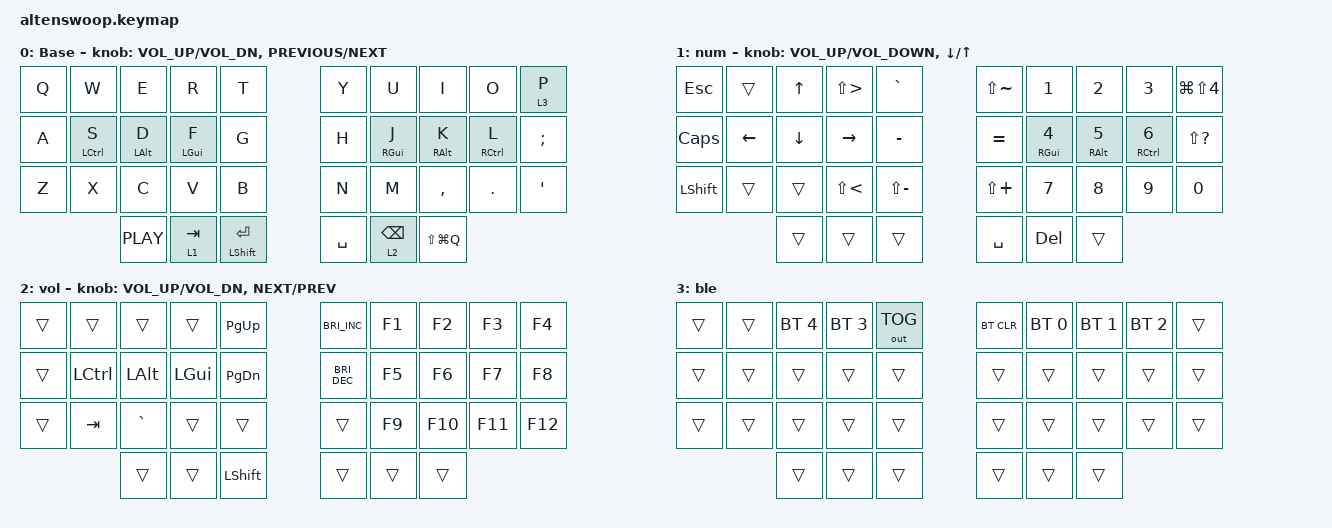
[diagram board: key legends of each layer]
/*
 * Copyright (c) 2020 duckyb
 *
 * SPDX-License-Identifier: MIT
 */

#include <dt-bindings/zmk/mouse.h>
#include <behaviors.dtsi>
#include <dt-bindings/zmk/bt.h>
#include <dt-bindings/zmk/keys.h>
#include <dt-bindings/zmk/outputs.h>

/* #include <dt-bindings/zmk/pointing.h> */

/ {
    behaviors {
        hm: require_prior_idle {
            compatible = "zmk,behavior-hold-tap";
            label = "Home row mod tap/hold";
            #binding-cells = <2>;
            flavor = "tap-preferred";
            tapping-term-ms = <200>;
            quick-tap-ms = <170>;
            require-prior-idle-ms = <170>;
            bindings = <&kp>, <&kp>;
        };

        hl: require_prior_idle2 {
            compatible = "zmk,behavior-hold-tap";
            label = "Home row layer mod tap/hold";
            #binding-cells = <2>;
            flavor = "tap-preferred";
            tapping-term-ms = <500>;
            quick-tap-ms = <170>;
            require-prior-idle-ms = <170>;
            bindings = <&mo>, <&kp>;
        };

        ht: ht {
            compatible = "zmk,behavior-hold-tap";
            label = "HT";
            bindings = <&kp>, <&kp>;

            #binding-cells = <2>;
            tapping-term-ms = <200>;
            quick-tap-ms = <200>;
            flavor = "tap-preferred";
        };

        thumb_lt: thumb_lt {
            compatible = "zmk,behavior-hold-tap";
            label = "THUMB_LT";
            bindings = <&mo>, <&kp>;

            #binding-cells = <2>;
            flavor = "tap-preferred";
            tapping-term-ms = <150>;
            quick-tap-ms = <200>;
        };

        thumb_ht: thumb_ht {
            compatible = "zmk,behavior-hold-tap";
            label = "THUMB_HT";
            bindings = <&kp>, <&kp>;

            #binding-cells = <2>;
            tapping-term-ms = <150>;
            quick-tap-ms = <200>;
        };

        hm_ringfinger: hm_ringfinger {
            compatible = "zmk,behavior-hold-tap";
            label = "HM_RINGFINGER";
            bindings = <&kp>, <&kp>;

            #binding-cells = <2>;
            tapping-term-ms = <250>;
            require-prior-idle-ms = <170>;
            quick-tap-ms = <170>;
            flavor = "tap-preferred";
        };
    };

    combos {
        compatible = "zmk,combos";

        left_bra {
            bindings = <&kp LEFT_BRACKET>;
            key-positions = <2 1>;
            layers = <0>;
        };

        right_bra {
            bindings = <&kp RIGHT_BRACKET>;
            key-positions = <7 8>;
            layers = <0>;
        };

        left_par {
            bindings = <&kp LEFT_PARENTHESIS>;
            key-positions = <12 11>;
            layers = <0>;
        };

        right_par {
            bindings = <&kp RIGHT_PARENTHESIS>;
            key-positions = <17 18>;
            layers = <0>;
        };

        left_brace {
            bindings = <&kp LEFT_BRACE>;
            key-positions = <22 21>;
            require-prior-idle-ms = <100>;
        };

        right_brace {
            bindings = <&kp RIGHT_BRACE>;
            key-positions = <27 28>;
        };

        bac {
            bindings = <&kp BACKSLASH>;
            key-positions = <4 15>;
            require-prior-idle-ms = <170>;
        };

        slash {
            bindings = <&kp SLASH>;
            key-positions = <14 5>;
            require-prior-idle-ms = <170>;
        };

        pipe {
            bindings = <&kp PIPE>;
            key-positions = <24 25>;
            require-prior-idle-ms = <170>;
        };

        caps {
            bindings = <&kp CAPSLOCK>;
            key-positions = <10 19>;
        };
    };

    macros {
        m_a_grave: m_a_grave {
            compatible = "zmk,behavior-macro";
            label = "M_A_GRAVE";
            #binding-cells = <0>;
            bindings = <&kp LA(GRAVE) &kp A>;
        };

        m_a_caret: m_a_caret {
            compatible = "zmk,behavior-macro";
            label = "M_A_CARET";
            #binding-cells = <0>;
            bindings = <&kp LA(I) &kp A>;
        };

        m_e_cute: m_e_cute {
            compatible = "zmk,behavior-macro";
            label = "M_E_CUTE";
            #binding-cells = <0>;
            bindings = <&kp LA(E) &kp E>;
        };

        m_e_grave: m_e_grave {
            compatible = "zmk,behavior-macro";
            label = "M_E_GRAVE";
            #binding-cells = <0>;
            bindings = <&kp LA(GRAVE) &kp E>;
        };

        m_e_caret: m_e_caret {
            compatible = "zmk,behavior-macro";
            label = "M_E_CARET";
            #binding-cells = <0>;
            bindings = <&kp LA(I) &kp E>;
        };

        m_ou: m_ou {
            compatible = "zmk,behavior-macro";
            label = "M_OU";
            #binding-cells = <0>;
            bindings = <&kp O &kp LA(GRAVE) &kp U>;
        };

        m_u_caret: m_u_caret {
            compatible = "zmk,behavior-macro";
            label = "M_U_CARET";
            #binding-cells = <0>;
            bindings = <&kp LA(I) &kp U>;
        };

        m_o_caret: m_o_caret {
            compatible = "zmk,behavior-macro";
            label = "M_O_CARET";
            #binding-cells = <0>;
            bindings = <&kp LA(I) &kp O>;
        };

        m_paren_quote: m_paren_quote {
            compatible = "zmk,behavior-macro";
            label = "M_PAREN_QUOTE";
            #binding-cells = <0>;
            bindings = <&kp LEFT_PARENTHESIS &kp DOUBLE_QUOTES>;
        };

        m_lt_gt_left: m_lt_gt_left {
            compatible = "zmk,behavior-macro";
            label = "M_LT_GT_LEFT";
            #binding-cells = <0>;
            bindings = <&kp LESS_THAN &kp GREATER_THAN &kp LEFT>;
        };
    };

    keymap {
        compatible = "zmk,keymap";

        base {
            label = "Base";
            bindings = <
&kp Q  &kp W                   &kp E           &kp R            &kp T                    &kp Y      &kp U             &kp I            &kp O                   &hl 3 P
&kp A  &hm_ringfinger LCTRL S  &hm LEFT_ALT D  &hm LGUI F       &kp G                    &kp H      &hm RGUI J        &hm RIGHT_ALT K  &hm_ringfinger RCTRL L  &kp SEMICOLON
&kp Z  &kp X                   &kp C           &kp V            &kp B                    &kp N      &kp M             &kp COMMA        &kp DOT                 &kp SQT
                               &kp C_PLAY      &thumb_lt 1 TAB  &thumb_ht LSHFT ENTER    &kp SPACE  &thumb_lt 2 BSPC  &kp LS(LG(Q))
            >;

            sensor-bindings =
                <&inc_dec_kp C_VOL_UP C_VOL_DN>,
                <&inc_dec_kp C_PREVIOUS C_NEXT>;
        };

        numbers {
            label = "num";
            bindings = <
&kp ESC         &trans    &kp UP_ARROW  &kp LS(GT)  &kp GRAVE        &kp LS(TILDE)  &kp N1             &kp N2            &kp N3                &kp LG(LS(N4))
&kp CAPS        &kp LEFT  &kp DOWN      &kp RIGHT   &kp MINUS        &kp EQUAL      &hm RGUI NUMBER_4  &hm RIGHT_ALT N5  &hm RIGHT_CONTROL N6  &kp LS(QMARK)
&kp LEFT_SHIFT  &trans    &trans        &kp LS(LT)  &kp LS(MINUS)    &kp LS(PLUS)   &kp N7             &kp N8            &kp N9                &kp N0
                          &trans        &trans      &trans           &kp SPACE      &kp DEL            &trans
            >;

            sensor-bindings =
                <&inc_dec_kp C_VOLUME_UP C_VOLUME_DOWN>,
                <&inc_dec_kp DOWN UP_ARROW>;
        };

        Fn {
            label = "vol";
            bindings = <
&trans  &trans     &trans     &trans    &kp PAGE_UP      &kp C_BRIGHTNESS_INC  &kp F1  &kp F2   &kp F3   &kp F4
&trans  &kp LCTRL  &kp LALT   &kp LGUI  &kp PAGE_DOWN    &kp C_BRIGHTNESS_DEC  &kp F5  &kp F6   &kp F7   &kp F8
&trans  &kp TAB    &kp GRAVE  &trans    &trans           &trans                &kp F9  &kp F10  &kp F11  &kp F12
                   &trans     &trans    &kp LSHFT        &trans                &trans  &trans
            >;

            sensor-bindings =
                <&inc_dec_kp C_VOL_UP C_VOL_DN>,
                <&inc_dec_kp C_NEXT C_PREV>;
        };

        bluetooth {
            label = "ble";
            bindings = <
&trans  &trans  &bt BT_SEL 4  &bt BT_SEL 3  &out OUT_TOG    &bt BT_CLR  &bt BT_SEL 0  &bt BT_SEL 1  &bt BT_SEL 2  &trans
&trans  &trans  &trans        &trans        &trans          &trans      &trans        &trans        &trans        &trans
&trans  &trans  &trans        &trans        &trans          &trans      &trans        &trans        &trans        &trans
                &trans        &trans        &trans          &trans      &trans        &trans
            >;
        };
    };
};
